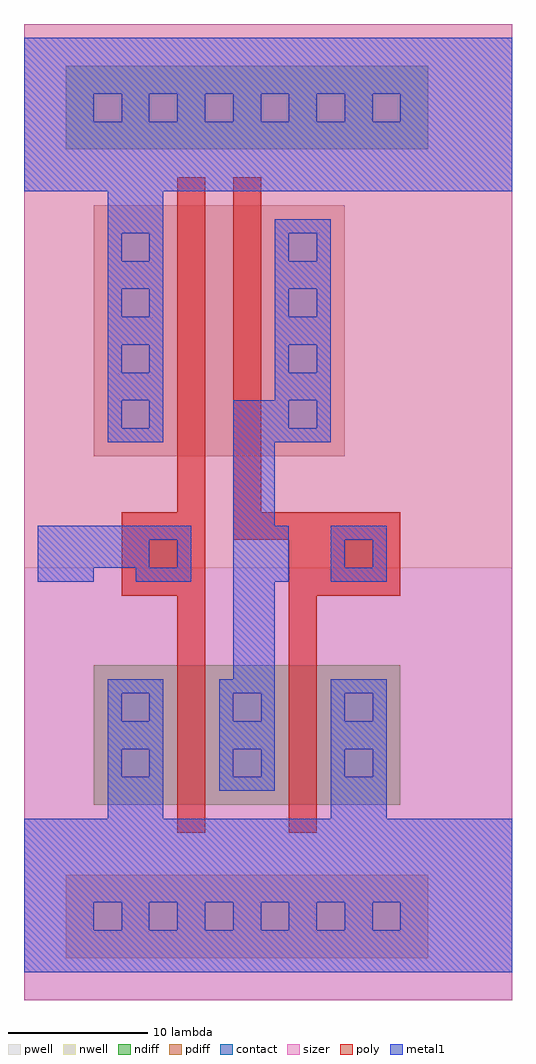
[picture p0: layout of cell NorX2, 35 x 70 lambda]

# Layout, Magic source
magic
tech LibreSilicon-test000-concept-mg-70-7
<< sizer >>
rect 0 0 35 70
<< metal1 >>
rect 0 65 35 69
rect 0 63 5 65
rect 7 63 9 65
rect 11 63 13 65
rect 15 63 17 65
rect 19 63 21 65
rect 23 63 25 65
rect 27 63 35 65
rect 0 58 35 63
rect 6 55 10 58
rect 18 55 22 56
rect 6 53 7 55
rect 9 53 10 55
rect 18 53 19 55
rect 21 53 22 55
rect 6 51 10 53
rect 18 51 22 53
rect 6 49 7 51
rect 9 49 10 51
rect 18 49 19 51
rect 21 49 22 51
rect 6 47 10 49
rect 18 47 22 49
rect 6 45 7 47
rect 9 45 10 47
rect 18 45 19 47
rect 21 45 22 47
rect 6 43 10 45
rect 18 43 22 45
rect 6 41 7 43
rect 9 41 10 43
rect 15 41 19 43
rect 21 41 22 43
rect 6 40 10 41
rect 15 40 22 41
rect 15 34 18 40
rect 1 33 12 34
rect 15 30 19 34
rect 22 33 26 34
rect 1 31 9 33
rect 11 31 12 33
rect 22 31 23 33
rect 25 31 26 33
rect 1 30 5 31
rect 8 30 12 31
rect 22 30 26 31
rect 15 23 18 30
rect 6 22 10 23
rect 14 22 18 23
rect 22 22 26 23
rect 6 20 7 22
rect 9 20 10 22
rect 14 20 15 22
rect 17 20 18 22
rect 22 20 23 22
rect 25 20 26 22
rect 6 18 10 20
rect 14 18 18 20
rect 22 18 26 20
rect 6 16 7 18
rect 9 16 10 18
rect 14 16 15 18
rect 17 16 18 18
rect 22 16 23 18
rect 25 16 26 18
rect 6 13 10 16
rect 14 15 18 16
rect 22 13 26 16
rect 0 7 35 13
rect 0 5 5 7
rect 7 5 9 7
rect 11 5 13 7
rect 15 5 17 7
rect 19 5 21 7
rect 23 5 25 7
rect 27 5 35 7
rect 0 2 35 5
<< contact >>
rect 5 63 7 65
rect 9 63 11 65
rect 13 63 15 65
rect 17 63 19 65
rect 21 63 23 65
rect 25 63 27 65
rect 7 53 9 55
rect 19 53 21 55
rect 7 49 9 51
rect 19 49 21 51
rect 7 45 9 47
rect 19 45 21 47
rect 7 41 9 43
rect 19 41 21 43
rect 9 31 11 33
rect 23 31 25 33
rect 7 20 9 22
rect 15 20 17 22
rect 23 20 25 22
rect 7 16 9 18
rect 15 16 17 18
rect 23 16 25 18
rect 5 5 7 7
rect 9 5 11 7
rect 13 5 15 7
rect 17 5 19 7
rect 21 5 23 7
rect 25 5 27 7
<< poly >>
rect 11 35 13 59
rect 15 35 17 59
rect 7 29 13 35
rect 15 33 27 35
rect 19 29 27 33
rect 11 12 13 29
rect 19 12 21 29
<< ndiff >>
rect 3 61 29 67
rect 5 14 27 24
<< pdiff >>
rect 5 39 23 57
rect 3 3 29 9
<< nwell >>
rect 0 31 35 70
<< pwell >>
rect 0 0 35 31
<< end >>
